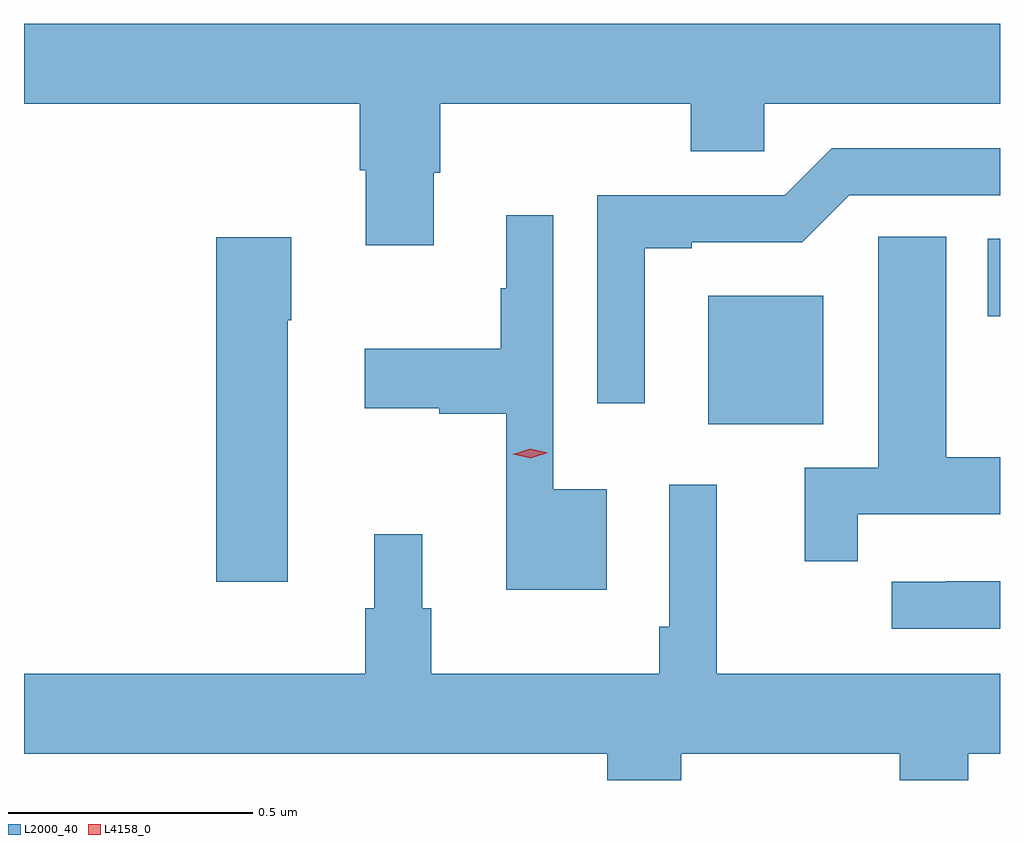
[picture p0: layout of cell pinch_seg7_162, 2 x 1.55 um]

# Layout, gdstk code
import gdstk
lib = gdstk.Library(unit=1e-6, precision=1e-09)
def R(c, l, rs):  # rectangles x0, y0, x1, y1
    for r in rs: c.add(gdstk.rectangle(r[:2], r[2:], *l))
def P(c, l, *ps):  # polygons
    for p in ps: c.add(gdstk.Polygon(p, *l))
L2000_40 = (2000, 40)
L4158_0 = (4158, 0)

pinch_seg7_162 = lib.new_cell('pinch_seg7_162')
R(pinch_seg7_162, L2000_40, [(1042.148,1006.619,1042.384,1006.882), (1042.721,1006.84,1042.746,1006.999)])
P(pinch_seg7_162, L2000_40, [(1041.586,1007.134),(1041.599,1007.134),(1041.599,1007.276),(1042.112,1007.276),(1042.112,1007.178),(1042.263,1007.178),(1042.263,1007.276),(1042.746,1007.276),(1042.746,1007.44),(1040.746,1007.44),(1040.746,1007.276),(1041.434,1007.276),(1041.434,1007.139),(1041.446,1007.139),(1041.446,1006.986),(1041.586,1006.986)],
  [(1042.018,1006.98),(1042.114,1006.98),(1042.114,1006.992),(1042.341,1006.992),(1042.437,1007.088),(1042.746,1007.088),(1042.746,1007.184),(1042.401,1007.184),(1042.305,1007.088),(1041.921,1007.088),(1041.921,1006.662),(1042.018,1006.662)],
  [(1041.94,1006.486),(1041.831,1006.486),(1041.831,1007.047),(1041.734,1007.047),(1041.734,1006.898),(1041.723,1006.898),(1041.723,1006.774),(1041.444,1006.774),(1041.444,1006.652),(1041.597,1006.652),(1041.597,1006.64),(1041.734,1006.64),(1041.734,1006.28),(1041.94,1006.28)],
  [(1042.454,1006.434),(1042.746,1006.434),(1042.746,1006.551),(1042.636,1006.551),(1042.636,1007.003),(1042.497,1007.003),(1042.497,1006.892),(1042.496,1006.892),(1042.496,1006.53),(1042.346,1006.53),(1042.346,1006.338),(1042.454,1006.338)],
  [(1041.286,1006.832),(1041.294,1006.832),(1041.294,1007.002),(1041.14,1007.002),(1041.14,1006.296),(1041.286,1006.296)],
  [(1042.093,1005.944),(1042.541,1005.944),(1042.541,1005.889),(1042.681,1005.889),(1042.681,1005.944),(1042.746,1005.944),(1042.746,1006.108),(1042.166,1006.108),(1042.166,1006.495),(1042.068,1006.495),(1042.068,1006.204),(1042.048,1006.204),(1042.048,1006.108),(1041.581,1006.108),(1041.581,1006.242),(1041.562,1006.242),(1041.562,1006.393),(1041.464,1006.393),(1041.464,1006.242),(1041.445,1006.242),(1041.445,1006.108),(1040.746,1006.108),(1040.746,1005.944),(1041.941,1005.944),(1041.941,1005.889),(1042.093,1005.889)],
  [(1042.746,1006.297),(1042.636,1006.297),(1042.636,1006.296),(1042.524,1006.296),(1042.524,1006.2),(1042.746,1006.2)])
P(pinch_seg7_162, L4158_0, [(1041.784,1006.549),(1041.748,1006.557),(1041.748,1006.557),(1041.748,1006.557),(1041.783,1006.569),(1041.819,1006.56),(1041.819,1006.56),(1041.819,1006.56)])

lib.write_gds('pinch_seg7_162.gds')
